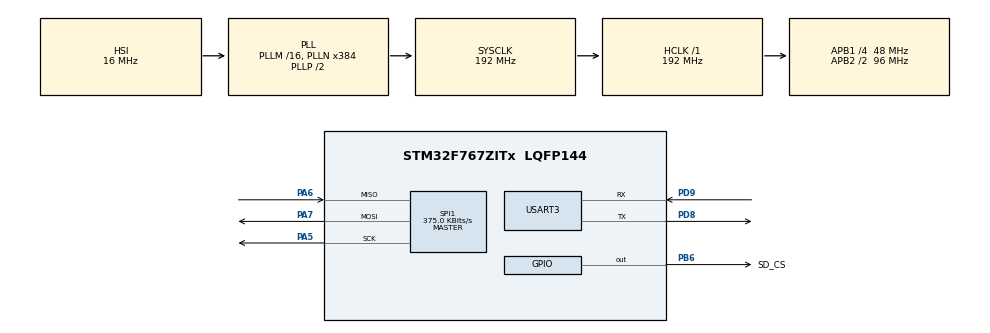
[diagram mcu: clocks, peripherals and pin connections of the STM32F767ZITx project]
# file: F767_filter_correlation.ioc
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CORTEX_M7.default_mode_Activation=1
FATFS._USE_LFN=1
Mcu.Family=STM32F7
Mcu.Name=STM32F767ZITx
Mcu.Package=LQFP144
NVIC.PriorityGroup=NVIC_PRIORITYGROUP_4
PA5.Mode=Full_Duplex_Master
PA5.Signal=SPI1_SCK
PA6.Mode=Full_Duplex_Master
PA6.Signal=SPI1_MISO
PA7.Mode=Full_Duplex_Master
PA7.Signal=SPI1_MOSI
PB6.GPIO_Label=SD_CS
PB6.GPIO_Speed=GPIO_SPEED_FREQ_VERY_HIGH
PB6.PinState=GPIO_PIN_SET
PB6.Signal=GPIO_Output
PD8.Mode=Asynchronous
PD8.Signal=USART3_TX
PD9.Mode=Asynchronous
PD9.Signal=USART3_RX
ProjectManager.HeapSize=0x200
ProjectManager.StackSize=0x400
ProjectManager.TargetToolchain=STM32CubeIDE
RCC.AHBFreq_Value=192000000
RCC.APB1CLKDivider=RCC_HCLK_DIV4
RCC.APB1Freq_Value=48000000
RCC.APB1TimFreq_Value=96000000
RCC.APB2CLKDivider=RCC_HCLK_DIV2
RCC.APB2Freq_Value=96000000
RCC.APB2TimFreq_Value=192000000
RCC.CortexFreq_Value=192000000
RCC.HCLKFreq_Value=192000000
RCC.HSE_VALUE=25000000
RCC.HSI_VALUE=16000000
RCC.LSE_VALUE=32768
RCC.PLLN=384
RCC.PLLQ=8
RCC.SDMMCClockSelection=RCC_SDMMC1CLKSOURCE_CLK48
RCC.SYSCLKFreq_VALUE=192000000
RCC.SYSCLKSource=RCC_SYSCLKSOURCE_PLLCLK
RCC.USBFreq_Value=48000000
RCC.VCOOutputFreq_Value=384000000
SPI1.BaudRatePrescaler=SPI_BAUDRATEPRESCALER_256
SPI1.CalculateBaudRate=375.0 KBits/s
SPI1.DataSize=SPI_DATASIZE_8BIT
SPI1.Direction=SPI_DIRECTION_2LINES
SPI1.Mode=SPI_MODE_MASTER
SPI1.VirtualType=VM_MASTER
USART3.VirtualMode-Asynchronous=VM_ASYNC
VP_FATFS_VS_Generic.Mode=User_defined
board=custom

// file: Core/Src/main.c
/* USER CODE BEGIN Header */
/* F767_filter_correlation */
/**
  ******************************************************************************
  * @file           : main.c
  * @brief          : Main program body
  ******************************************************************************
  * @attention
  *
  * Copyright (c) 2026 STMicroelectronics.
  * All rights reserved.
  *
  * This software is licensed under terms that can be found in the LICENSE file
  * in the root directory of this software component.
  * If no LICENSE file comes with this software, it is provided AS-IS.
  *
  ******************************************************************************
  */
/* USER CODE END Header */
#include "main.h"
#include "fatfs.h"
#include "spi.h"
#include "usart.h"
#include "gpio.h"

/* USER CODE BEGIN Includes */
#include <stdio.h>
#include <string.h>

#include "fatfs.h"

#include "app_config.h"
#include "app_wav.h"
#include "app_chirp.h"
#include "app_detector.h"
#include "app_utils.h"
#include "sd_spi.h"
/* USER CODE END Includes */

/* USER CODE BEGIN PV */
static APP_WavFile wav;

static int16_t rawFrame[APP_FRAME_LEN];
// static int16_t newSamples[APP_HOP_LEN];

static float frameFloat[APP_FRAME_LEN];
static float chirpTemplate[APP_CHIRP_LEN];
static float corrBuffer[APP_CORR_LEN];

static uint32_t frameID = 0;
static uint32_t globalFrameStartSample = 0;
/* USER CODE END PV */

void SystemClock_Config(void);
static void MPU_Config(void);
/* USER CODE BEGIN PFP */
static int APP_ReadFirstFrame(void);
static int APP_ReadNextOverlapFrame(void);
static void APP_ProcessFrame(void);
/* USER CODE END PFP */

int main(void)
{

  /* MPU Configuration--------------------------------------------------------*/
  MPU_Config();

  /* MCU Configuration--------------------------------------------------------*/

  /* Reset of all peripherals, Initializes the Flash interface and the Systick. */
  HAL_Init();

  /* Configure the system clock */
  SystemClock_Config();

  /* Initialize all configured peripherals */
  MX_GPIO_Init();
  MX_USART3_UART_Init();
  MX_FATFS_Init();
  MX_SPI1_Init();
  /* USER CODE BEGIN 2 */

  HAL_UART_Transmit(&huart3, (uint8_t *)"HAL UART OK \r\n", 13, HAL_MAX_DELAY);

  BYTE testSector[512];

  DRESULT r = SD_SPI_read(0, testSector, 0, 1);
  printf("Read sector0 result = %d\r\n", r);
  printf("Sector0 end = %02X %02X\r\n", testSector[510], testSector[511]);

  FRESULT fres = f_mount(&USERFatFS, USERPath, 1);

  if (fres != FR_OK)
  {
    printf("FatFs mount failed: %d\r\n", fres);
    Error_Handler();
  } // end if fres ok

  printf("FatFs mount OK\r\n");

  printf("Opening WAV file: %s\r\n", APP_WAV_FILENAME);

  int wavRet = APP_Wav_Open(&wav, APP_WAV_FILENAME);

  if (wavRet != 0)
  {
    printf("WAV open failed: %d\r\n", wavRet);
    Error_Handler();
  } // end if wavRet != 0

  printf("WAV open OK \r\n");
  printf("Sample rate: %lu Hz\r\n", wav.sampleRate);
  printf("Channels: %u\r\n", wav.numChannels);
  printf("Bits: %u\r\n", wav.bitsPerSample);

  if (wav.sampleRate != APP_FS_HZ)
  {
    printf("Warning: WAV sample rate does not match APP_FS_HZ\r\n");
  } // end if sampleRate not the same

  APP_Chirp_Generate(chirpTemplate, APP_CHIRP_LEN);

  printf("Chirp template generated.\r\n");

  int firstRead = APP_ReadFirstFrame();

  if (firstRead <= 0)
  {
    printf("Failed to read first frame\r\n");
    Error_Handler();
  } // end if firstRead <= 0

  printf("First frame read OK\r\n");
  /* USER CODE END 2 */

  /* Infinite loop */
  /* USER CODE BEGIN WHILE */
  while (1)
  {
    uint32_t t0 = HAL_GetTick();
    APP_ProcessFrame();

    uint32_t t1 = HAL_GetTick();

    printf("Process time: %lu ms\r\n", t1 - t0);
    int readStatus = APP_ReadNextOverlapFrame();

    if (readStatus == 0)
    {
      printf("End of WAV file\r\n");

      APP_Wav_Close(&wav);

      while (1)
      {
        HAL_Delay(1000);
      } // end inner while

    } // end if readStatus == 0
    else if (readStatus < 0)
    {
      printf("WAV read error\r\n");
      Error_Handler();
    } // end ekse if
    /* USER CODE END WHILE */

  }
}

void SystemClock_Config(void)
{
  RCC_OscInitTypeDef RCC_OscInitStruct = {0};
  RCC_ClkInitTypeDef RCC_ClkInitStruct = {0};

  /** Configure the main internal regulator output voltage
  */
  __HAL_RCC_PWR_CLK_ENABLE();
  __HAL_PWR_VOLTAGESCALING_CONFIG(PWR_REGULATOR_VOLTAGE_SCALE1);

  /** Initializes the RCC Oscillators according to the specified parameters
  * in the RCC_OscInitTypeDef structure.
  */
  RCC_OscInitStruct.OscillatorType = RCC_OSCILLATORTYPE_HSI;
  RCC_OscInitStruct.HSIState = RCC_HSI_ON;
  RCC_OscInitStruct.HSICalibrationValue = RCC_HSICALIBRATION_DEFAULT;
  RCC_OscInitStruct.PLL.PLLState = RCC_PLL_ON;
  RCC_OscInitStruct.PLL.PLLSource = RCC_PLLSOURCE_HSI;
  RCC_OscInitStruct.PLL.PLLM = 16;
  RCC_OscInitStruct.PLL.PLLN = 384;
  RCC_OscInitStruct.PLL.PLLP = RCC_PLLP_DIV2;
  RCC_OscInitStruct.PLL.PLLQ = 8;
  RCC_OscInitStruct.PLL.PLLR = 2;
  if (HAL_RCC_OscConfig(&RCC_OscInitStruct) != HAL_OK)
  {
    Error_Handler();
  }

  /** Activate the Over-Drive mode
  */
  if (HAL_PWREx_EnableOverDrive() != HAL_OK)
  {
    Error_Handler();
  }

  /** Initializes the CPU, AHB and APB buses clocks
  */
  RCC_ClkInitStruct.ClockType = RCC_CLOCKTYPE_HCLK|RCC_CLOCKTYPE_SYSCLK
                              |RCC_CLOCKTYPE_PCLK1|RCC_CLOCKTYPE_PCLK2;
  RCC_ClkInitStruct.SYSCLKSource = RCC_SYSCLKSOURCE_PLLCLK;
  RCC_ClkInitStruct.AHBCLKDivider = RCC_SYSCLK_DIV1;
  RCC_ClkInitStruct.APB1CLKDivider = RCC_HCLK_DIV4;
  RCC_ClkInitStruct.APB2CLKDivider = RCC_HCLK_DIV2;

  if (HAL_RCC_ClockConfig(&RCC_ClkInitStruct, FLASH_LATENCY_6) != HAL_OK)
  {
    Error_Handler();
  }
}

/* USER CODE BEGIN 4 */
int _write(int file, char *ptr, int len)
{
  HAL_UART_Transmit(&huart3, (uint8_t *)ptr, len, HAL_MAX_DELAY);
  return len;
} // end function _write

static int APP_ReadFirstFrame(void)
{
  uint32_t samplesRead = 0;

  int ret = APP_Wav_ReadSamples(&wav, rawFrame, APP_FRAME_LEN, &samplesRead);

  if (ret != 0)
  {
    return -1;
  } // end if

  if (samplesRead < APP_FRAME_LEN)
  {
    return 0;
  } // end if

  return 1;
} // end function APP_ReadFirstFrame

static int APP_ReadNextOverlapFrame(void)
{
  uint32_t samplesRead = 0;

  memmove(rawFrame, &rawFrame[APP_HOP_LEN], APP_OVERLAP_LEN * sizeof(int16_t));

  int ret = APP_Wav_ReadSamples(&wav, &rawFrame[APP_OVERLAP_LEN], APP_HOP_LEN, &samplesRead);

  if (ret != 0)
  {
    return -1;
  } // end if

  if (samplesRead < APP_HOP_LEN)
  {
    return 0;
  } // end if

  globalFrameStartSample += APP_HOP_LEN;

  return 1;
} // end function APP_ReadNextOverlapFrame

static void APP_ProcessFrame(void)
{
  APP_Int16ToFloat(rawFrame, frameFloat, APP_FRAME_LEN);

  APP_RemoveDC(frameFloat, APP_FRAME_LEN);

  APP_NormalizeFrame(frameFloat, APP_FRAME_LEN);

  APP_Detector_Correlate(frameFloat, chirpTemplate, corrBuffer);

  APP_DetectroResult result = APP_Detector_FindPeak(corrBuffer, APP_CORR_LEN, APP_DETECH_TH);

  uint32_t detectedSample = globalFrameStartSample + result.peakIndex;
  float detectTime = (float)detectedSample / (float)APP_FS_HZ;

  printf("Frame %lu | Peak %.4f | LocalIndex %lu | Sample %lu | Time %.4f s | %s\r\n", frameID , result.peakValue, result.peakIndex, detectedSample, detectTime, result.detected ? "DETECTED" : "NONE");

  frameID ++;
}
/* USER CODE END 4 */

 /* MPU Configuration */

void MPU_Config(void)
{
  MPU_Region_InitTypeDef MPU_InitStruct = {0};

  /* Disables the MPU */
  HAL_MPU_Disable();

  /** Initializes and configures the Region and the memory to be protected
  */
  MPU_InitStruct.Enable = MPU_REGION_ENABLE;
  MPU_InitStruct.Number = MPU_REGION_NUMBER0;
  MPU_InitStruct.BaseAddress = 0x0;
  MPU_InitStruct.Size = MPU_REGION_SIZE_4GB;
  MPU_InitStruct.SubRegionDisable = 0x87;
  MPU_InitStruct.TypeExtField = MPU_TEX_LEVEL0;
  MPU_InitStruct.AccessPermission = MPU_REGION_NO_ACCESS;
  MPU_InitStruct.DisableExec = MPU_INSTRUCTION_ACCESS_DISABLE;
  MPU_InitStruct.IsShareable = MPU_ACCESS_SHAREABLE;
  MPU_InitStruct.IsCacheable = MPU_ACCESS_NOT_CACHEABLE;
  MPU_InitStruct.IsBufferable = MPU_ACCESS_NOT_BUFFERABLE;

  HAL_MPU_ConfigRegion(&MPU_InitStruct);
  /* Enables the MPU */
  HAL_MPU_Enable(MPU_PRIVILEGED_DEFAULT);

}

void Error_Handler(void)
{
  __disable_irq();
  while (1)
  {
  }
}
